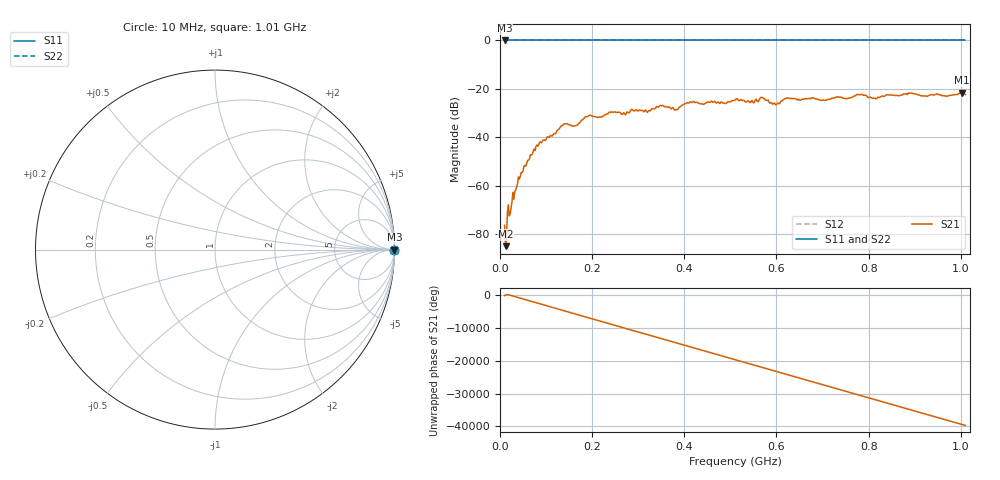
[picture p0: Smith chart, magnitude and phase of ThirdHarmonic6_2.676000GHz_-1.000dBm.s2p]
! 8/17/2025 6:15:42 AM
! C:\ANRITSUVNA\TEMP\TEMP.S2P
! CHANNEL.1
! TR.MEASUREMENT
! RAW.DATA
! RF.CORRECTION.OFF
! AVERAGING.OFF
! IF.BANDWIDTH: 5KHZ
! SWEEPTYPE:  FREQ.SWEEP(Linear)
! Reference Plane Port Info
! PORT:  PORT1  PORT2
! DISTANCE:  0  m  0  m
! TIME:  0  s  0  s
! PHASE.OFFSET:  0  deg.  0  deg.
! LOSS:  0  dB  0  dB
! REF.LOSS:  0  dB  0  dB
! REF.FREQ:  0  Hz  0  Hz
! Power Info
! POWER:  -20  dBm  -20  dBm
! EFF.POWER:  -20  dBm  -20  dBm
! SOURCE.ATTEN:  0  dB  0  dB
! TEST.ATTEN:  0  dB  0  dB
# GHZ S RI R 50.0
! FREQ.GHZ  S11RE  S11IM  S21RE  S21IM  S12RE  S12IM  S22RE  S22IM
!; PortSelection: Port_12
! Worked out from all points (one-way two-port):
!   501 points, 10 MHz to 1.01 GHz, reference 50 ohm
!   highest |S21| = -21.59 dB at 1.002 GHz (marker M1); lowest = -85.1 dB at 12 MHz (marker M2)
!   lowest |S11| = 0.0 dB at 10 MHz (marker M3)
!   |S11| at or under -10 dB: nowhere
!   |S22| runs from 0.0 to 0.0 dB; largest |S21 - S12| = 1.1
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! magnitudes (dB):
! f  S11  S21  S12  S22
! 10 MHz  0.0  -76.4  0.0  0.0
! 12 MHz  0.0  -85.1  0.0  0.0
! 42 MHz  0.0  -57.3  0.0  0.0
! 76 MHz  0.0  -45.5  0.0  0.0
! 136 MHz  0.0  -35.2  0.0  0.0
! 164 MHz  0.0  -35.2  0.0  0.0
! 178 MHz  0.0  -32.9  0.0  0.0
! 194 MHz  0.0  -31.0  0.0  0.0
! 322 MHz  0.0  -29.1  0.0  0.0
! 344 MHz  0.0  -27.6  0.0  0.0
! 382 MHz  0.0  -28.7  0.0  0.0
! 416 MHz  0.0  -25.7  0.0  0.0
! 510 MHz  0.0  -24.7  0.0  0.0
! 548 MHz  0.0  -25.0  0.0  0.0
! 568 MHz  0.0  -23.6  0.0  0.0
! 602 MHz  0.0  -26.0  0.0  0.0
! 622 MHz  0.0  -23.9  0.0  0.0
! 678 MHz  0.0  -23.9  0.0  0.0
! 814 MHz  0.0  -23.9  0.0  0.0
! 844 MHz  0.0  -22.6  0.0  0.0
! 1.002 GHz  0.0  -21.6  0.0  0.0
! 1.01 GHz  0.0  -22.4  0.0  0.0
